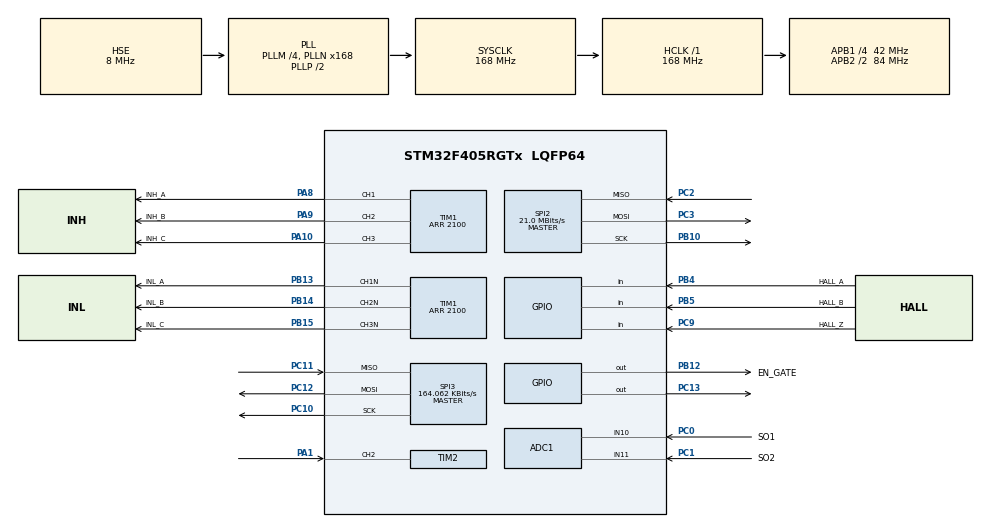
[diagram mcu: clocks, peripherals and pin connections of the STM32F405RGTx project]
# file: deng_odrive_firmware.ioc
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ADC1.Channel-3\#ChannelRegularConversion=ADC_CHANNEL_10
ADC1.Channel-4\#ChannelInjectedConversion=ADC_CHANNEL_10
ADC1.Channel-5\#ChannelInjectedConversion=ADC_CHANNEL_11
ADC1.ExternalTrigInjecConv=ADC_EXTERNALTRIGINJECCONV_T1_CC4
ADC1.InjNumberOfConversion=2
ADC1.InjectedOffset-4\#ChannelInjectedConversion=0
ADC1.InjectedOffset-5\#ChannelInjectedConversion=0
ADC1.InjectedRank-4\#ChannelInjectedConversion=1
ADC1.InjectedRank-5\#ChannelInjectedConversion=2
ADC1.NbrOfConversion=1
ADC1.NbrOfConversionFlag=1
ADC1.Rank-3\#ChannelRegularConversion=1
ADC1.SamplingTime-3\#ChannelRegularConversion=ADC_SAMPLETIME_3CYCLES
ADC1.SamplingTime-4\#ChannelInjectedConversion=ADC_SAMPLETIME_3CYCLES
ADC1.SamplingTime-5\#ChannelInjectedConversion=ADC_SAMPLETIME_3CYCLES
ADC1.master=1
Mcu.Family=STM32F4
Mcu.Name=STM32F405RGTx
Mcu.Package=LQFP64
NVIC.ADC_IRQn=true\:0\:0\:false\:false\:true\:true\:true\:true
NVIC.PriorityGroup=NVIC_PRIORITYGROUP_4
NVIC.TIM6_DAC_IRQn=true\:2\:0\:true\:false\:true\:true\:true\:true
PA1.Signal=S_TIM2_CH2
PA10.GPIO_Label=INH_C
PA10.Signal=S_TIM1_CH3
PA13.Mode=Serial_Wire
PA13.Signal=SYS_JTMS-SWDIO
PA14.Mode=Serial_Wire
PA14.Signal=SYS_JTCK-SWCLK
PA8.GPIO_Label=INH_A
PA8.Signal=S_TIM1_CH1
PA9.GPIO_Label=INH_B
PA9.Signal=S_TIM1_CH2
PB10.Mode=Full_Duplex_Master
PB10.Signal=SPI2_SCK
PB12.GPIO_Label=EN_GATE
PB12.Signal=GPIO_Output
PB13.GPIO_Label=INL_A
PB13.Mode=PWM Generation1 CH1 CH1N
PB13.Signal=TIM1_CH1N
PB14.GPIO_Label=INL_B
PB14.Mode=PWM Generation2 CH2 CH2N
PB14.Signal=TIM1_CH2N
PB15.GPIO_Label=INL_C
PB15.Mode=PWM Generation3 CH3 CH3N
PB15.Signal=TIM1_CH3N
PB4.GPIO_Label=HALL_A
PB4.Signal=GPIO_Input
PB5.GPIO_Label=HALL_B
PB5.Signal=GPIO_Input
PC0.GPIO_Label=SO1
PC0.Signal=ADCx_IN10
PC1.GPIO_Label=SO2
PC1.Signal=ADCx_IN11
PC10.Mode=Full_Duplex_Master
PC10.Signal=SPI3_SCK
PC11.Mode=Full_Duplex_Master
PC11.Signal=SPI3_MISO
PC12.Mode=Full_Duplex_Master
PC12.Signal=SPI3_MOSI
PC13-ANTI_TAMP.Signal=GPIO_Output
PC2.Mode=Full_Duplex_Master
PC2.Signal=SPI2_MISO
PC3.Mode=Full_Duplex_Master
PC3.Signal=SPI2_MOSI
PC9.GPIO_Label=HALL_Z
PC9.Signal=GPIO_Input
PH0-OSC_IN.Mode=HSE-External-Oscillator
PH0-OSC_IN.Signal=RCC_OSC_IN
PH1-OSC_OUT.Mode=HSE-External-Oscillator
PH1-OSC_OUT.Signal=RCC_OSC_OUT
ProjectManager.HeapSize=0x200
ProjectManager.StackSize=0x400
ProjectManager.TargetToolchain=Makefile
RCC.48MHZClocksFreq_Value=84000000
RCC.AHBFreq_Value=168000000
RCC.APB1CLKDivider=RCC_HCLK_DIV4
RCC.APB1Freq_Value=42000000
RCC.APB1TimFreq_Value=84000000
RCC.APB2CLKDivider=RCC_HCLK_DIV2
RCC.APB2Freq_Value=84000000
RCC.APB2TimFreq_Value=168000000
RCC.CortexFreq_Value=168000000
RCC.HCLKFreq_Value=168000000
RCC.HSE_VALUE=8000000
RCC.HSI_VALUE=16000000
RCC.LSE_VALUE=32768
RCC.PLLM=4
RCC.PLLN=168
RCC.PLLSourceVirtual=RCC_PLLSOURCE_HSE
RCC.SYSCLKFreq_VALUE=168000000
RCC.SYSCLKSource=RCC_SYSCLKSOURCE_PLLCLK
RCC.VCOOutputFreq_Value=336000000
SH.ADCx_IN10.0=ADC1_IN10,IN10
SH.ADCx_IN11.0=ADC1_IN11,IN11
SH.S_TIM1_CH1.0=TIM1_CH1,PWM Generation1 CH1 CH1N
SH.S_TIM1_CH2.0=TIM1_CH2,PWM Generation2 CH2 CH2N
SH.S_TIM1_CH3.0=TIM1_CH3,PWM Generation3 CH3 CH3N
SH.S_TIM2_CH2.0=TIM2_CH2,Input_Capture2_from_TI2
SPI2.CalculateBaudRate=21.0 MBits/s
SPI2.Direction=SPI_DIRECTION_2LINES
SPI2.Mode=SPI_MODE_MASTER
SPI2.VirtualType=VM_MASTER
SPI3.BaudRatePrescaler=SPI_BAUDRATEPRESCALER_256
SPI3.CLKPhase=SPI_PHASE_2EDGE
SPI3.CalculateBaudRate=164.062 KBits/s
SPI3.DataSize=SPI_DATASIZE_16BIT
SPI3.Direction=SPI_DIRECTION_2LINES
SPI3.Mode=SPI_MODE_MASTER
SPI3.VirtualType=VM_MASTER
TIM1.AutoReloadPreload=TIM_AUTORELOAD_PRELOAD_ENABLE
TIM1.Channel-PWM\ Generation1\ CH1\ CH1N=TIM_CHANNEL_1
TIM1.Channel-PWM\ Generation2\ CH2\ CH2N=TIM_CHANNEL_2
TIM1.Channel-PWM\ Generation3\ CH3\ CH3N=TIM_CHANNEL_3
TIM1.Channel-PWM\ Generation4\ No\ Output=TIM_CHANNEL_4
TIM1.CounterMode=TIM_COUNTERMODE_CENTERALIGNED1
TIM1.DeadTime=30
TIM1.Period=2100
TIM1.Pulse-PWM\ Generation1\ CH1\ CH1N=0
TIM1.Pulse-PWM\ Generation3\ CH3\ CH3N=0
TIM2.Channel-Input_Capture2_from_TI2=TIM_CHANNEL_2
TIM6.AutoReloadPreload=TIM_AUTORELOAD_PRELOAD_ENABLE
TIM6.Period=999
TIM6.Prescaler=83
VP_TIM1_VS_ClockSourceINT.Mode=Internal
VP_TIM1_VS_no_output4.Mode=PWM Generation4 No Output
VP_TIM6_VS_ClockSourceINT.Mode=Enable_Timer
board=custom

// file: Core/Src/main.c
/* USER CODE BEGIN Header */
/**
  ******************************************************************************
  * @file           : main.c
  * @brief          : Main program body
  ******************************************************************************
  * @attention
  *
  * Copyright (c) 2026 STMicroelectronics.
  * All rights reserved.
  *
  * This software is licensed under terms that can be found in the LICENSE file
  * in the root directory of this software component.
  * If no LICENSE file comes with this software, it is provided AS-IS.
  *
  ******************************************************************************
  */
/* USER CODE END Header */
#include "main.h"
#include "adc.h"
#include "spi.h"
#include "tim.h"
#include "gpio.h"

/* USER CODE BEGIN Includes */
#include "controller/motor.h"
#include "config.h"
/* USER CODE END Includes */

/* USER CODE BEGIN PM */
/* External start input (PA0) must be stable for this long before it is acted
 * on, to reject glitches/EMI on the single control line. */
#define EXT_START_DEBOUNCE_MS 5u
/* USER CODE END PM */

/* USER CODE BEGIN PV */
/* In normal operation the motor is initialised once at boot and start/stop is
 * driven by the external PA0 line (see main loop). These debug variables remain
 * for Ozone bring-up: set g_dbg_motor_mode (0=OPEN,1=VELOCITY,2=TORQUE,3=CURRENT)
 * and the matching target, e.g. g_dbg_id_target / g_dbg_iq_target in CURRENT. */
/* Control source: 0 = PA0 external line drives start/mode/setpoint (production
 * default); 1 = Ozone override, PA0 is ignored and the g_dbg_* variables below
 * are driven manually from the debugger. Flip this in Ozone to take control. */
volatile uint8_t g_dbg_override    = 0u;
/* Diagnostics readable in Ozone: g_reset_cause latches RCC->CSR at boot;
 * g_loop_count is a free-running heartbeat (no reset => it keeps climbing). */
volatile uint32_t g_reset_cause    = 0u;
volatile uint32_t g_loop_count     = 0u;
/* NOTE: g_dbg_init was removed — init now happens at boot, so the variable was
 * unused and the linker (--gc-sections) stripped it. An unused symbol resolves
 * to address 0x00000000, and writing it from Ozone pokes a null pointer, which
 * faults the debug access and drops the J-Link. Do not re-add it unused. */
volatile uint8_t g_dbg_motor_start = 0u;
volatile uint8_t g_dbg_daxis_lock  = 0u;
volatile uint8_t g_dbg_motor_mode  = 0u;   /* CTRL_MODE_OPEN */
volatile float   g_dbg_id_target   = 0.0f;
volatile float   g_dbg_iq_target   = 0.0f;
/* Velocity target in rad/s electrical. For dribbler (pp=1): 100 rad/s ≈ 955 RPM.
 * Used when g_dbg_motor_mode = 1 (CTRL_MODE_VELOCITY). */
volatile float   g_dbg_velocity_target = 0.0f;
/* USER CODE END PV */

void SystemClock_Config(void);

int main(void)
{

  /* MCU Configuration--------------------------------------------------------*/

  /* Reset of all peripherals, Initializes the Flash interface and the Systick. */
  HAL_Init();

  /* USER CODE BEGIN Init */
  /* Latch the reset cause so Ozone can tell a power/brownout reset apart from a
   * pure debug-link drop. Read g_reset_cause after a "disconnect":
   *   bit 25 BORRSTF / bit 27 PORRSTF set -> brownout/power reset (supply sag)
   *   bit 28 SFTRSTF                 set -> software reset
   *   bit 29 IWDGRSTF / 30 WWDGRSTF  set -> watchdog
   * If the target did NOT reset at all (g_loop_count kept climbing), the CPU
   * stayed alive and only the J-Link link dropped -> EMI on the SWD lines. */
  g_reset_cause = RCC->CSR;
  __HAL_RCC_CLEAR_RESET_FLAGS();
  /* USER CODE END Init */

  /* Configure the system clock */
  SystemClock_Config();

  /* Initialize all configured peripherals */
  MX_GPIO_Init();
  MX_ADC1_Init();
  MX_TIM1_Init();
  MX_TIM6_Init();
  MX_SPI3_Init();
  MX_SPI2_Init();
  MX_TIM2_Init();
  /* USER CODE BEGIN 2 */
  /* Initialise the motor once here, with the gate driver still disabled and the
   * machine at rest. No torque is produced until motor_start() (gate stays off),
   * and this quiescent state is the ideal moment for phase-current offset
   * calibration done inside motor_init(). */
  motor_init(motor(0));
  /* USER CODE END 2 */

  /* Infinite loop */
  /* USER CODE BEGIN WHILE */
  static uint8_t s_last_mode = 0xFFu;

  /* Debounced external start input (PA0). */
  static uint8_t  s_cmd_on   = 0u;   /* debounced start command */
  static uint8_t  s_raw_prev = 0u;   /* last raw level */
  static uint32_t s_raw_since = 0u;  /* tick when the raw level last changed */
  static uint8_t  s_seen_low = 0u;   /* a low must be seen before the first start */

  while (1)
  {
    /* USER CODE END WHILE */

    /* USER CODE BEGIN 3 */
    g_loop_count++;   /* heartbeat: if this keeps climbing after a "disconnect",
                       * the CPU never reset and only the SWD link dropped (EMI). */

    /* Production: external MCU start/enable on PA0 drives the g_dbg_* controls.
     * A stable high => start in CURRENT mode, low => stop. The level is debounced
     * to reject glitches/EMI, and a low must be observed at least once before the
     * first start, so a line that is already high at power-up cannot auto-spin the
     * motor. When g_dbg_override is set (Ozone), PA0 is ignored and the g_dbg_*
     * variables are left untouched for manual control from the debugger. */
    if (!g_dbg_override) {
        uint8_t  raw = (HAL_GPIO_ReadPin(EXT_START_GPIO_Port, EXT_START_Pin) == GPIO_PIN_SET) ? 1u : 0u;
        uint32_t now = HAL_GetTick();
        if (raw != s_raw_prev) {
            s_raw_prev  = raw;
            s_raw_since = now;
        } else if ((now - s_raw_since) >= EXT_START_DEBOUNCE_MS) {
            if (raw == 0u) { s_seen_low = 1u; }
            s_cmd_on = (raw && s_seen_low) ? 1u : 0u;
        }

        g_dbg_motor_mode  = CTRL_MODE_CURRENT;
        g_dbg_motor_start = s_cmd_on;
        g_dbg_iq_target   = s_cmd_on ? CONFIG_DRIBBLER_IQ : 0.0f;
    }

    if (g_dbg_motor_start == 0u && motor(0)->b_start) {
        motor_stop(motor(0));
    }
    if (g_dbg_motor_start == 1u && !motor(0)->b_start) {
        motor_start(motor(0), g_dbg_motor_mode);
    }

    /* live mode switching while motor is running */
    if (motor(0)->b_start && g_dbg_motor_mode != s_last_mode) {
        contrl_request_mode(&motor(0)->controller, g_dbg_motor_mode);
        s_last_mode = g_dbg_motor_mode;
    }

    /* current-mode setpoints (used by mc_sched at 1 kHz) */
    motor(0)->currdq_command[0] = g_dbg_id_target;
    motor(0)->currdq_command[1] = g_dbg_iq_target;

    /* velocity-mode setpoint (used by mc_sched when mode=CTRL_MODE_VELOCITY) */
    motor(0)->velocity_command = g_dbg_velocity_target;

    g_openloop_daxis_lock_dbg = (g_dbg_daxis_lock != 0u) ? 1u : 0u;
  }
  /* USER CODE END 3 */
}

void SystemClock_Config(void)
{
  RCC_OscInitTypeDef RCC_OscInitStruct = {0};
  RCC_ClkInitTypeDef RCC_ClkInitStruct = {0};

  /** Configure the main internal regulator output voltage
  */
  __HAL_RCC_PWR_CLK_ENABLE();
  __HAL_PWR_VOLTAGESCALING_CONFIG(PWR_REGULATOR_VOLTAGE_SCALE1);

  /** Initializes the RCC Oscillators according to the specified parameters
  * in the RCC_OscInitTypeDef structure.
  */
  RCC_OscInitStruct.OscillatorType = RCC_OSCILLATORTYPE_HSE;
  RCC_OscInitStruct.HSEState = RCC_HSE_ON;
  RCC_OscInitStruct.PLL.PLLState = RCC_PLL_ON;
  RCC_OscInitStruct.PLL.PLLSource = RCC_PLLSOURCE_HSE;
  RCC_OscInitStruct.PLL.PLLM = 4;
  RCC_OscInitStruct.PLL.PLLN = 168;
  RCC_OscInitStruct.PLL.PLLP = RCC_PLLP_DIV2;
  RCC_OscInitStruct.PLL.PLLQ = 4;
  if (HAL_RCC_OscConfig(&RCC_OscInitStruct) != HAL_OK)
  {
    Error_Handler();
  }

  /** Initializes the CPU, AHB and APB buses clocks
  */
  RCC_ClkInitStruct.ClockType = RCC_CLOCKTYPE_HCLK|RCC_CLOCKTYPE_SYSCLK
                              |RCC_CLOCKTYPE_PCLK1|RCC_CLOCKTYPE_PCLK2;
  RCC_ClkInitStruct.SYSCLKSource = RCC_SYSCLKSOURCE_PLLCLK;
  RCC_ClkInitStruct.AHBCLKDivider = RCC_SYSCLK_DIV1;
  RCC_ClkInitStruct.APB1CLKDivider = RCC_HCLK_DIV4;
  RCC_ClkInitStruct.APB2CLKDivider = RCC_HCLK_DIV2;

  if (HAL_RCC_ClockConfig(&RCC_ClkInitStruct, FLASH_LATENCY_5) != HAL_OK)
  {
    Error_Handler();
  }
}

void Error_Handler(void)
{
  __disable_irq();
  while (1)
  {
  }
}
